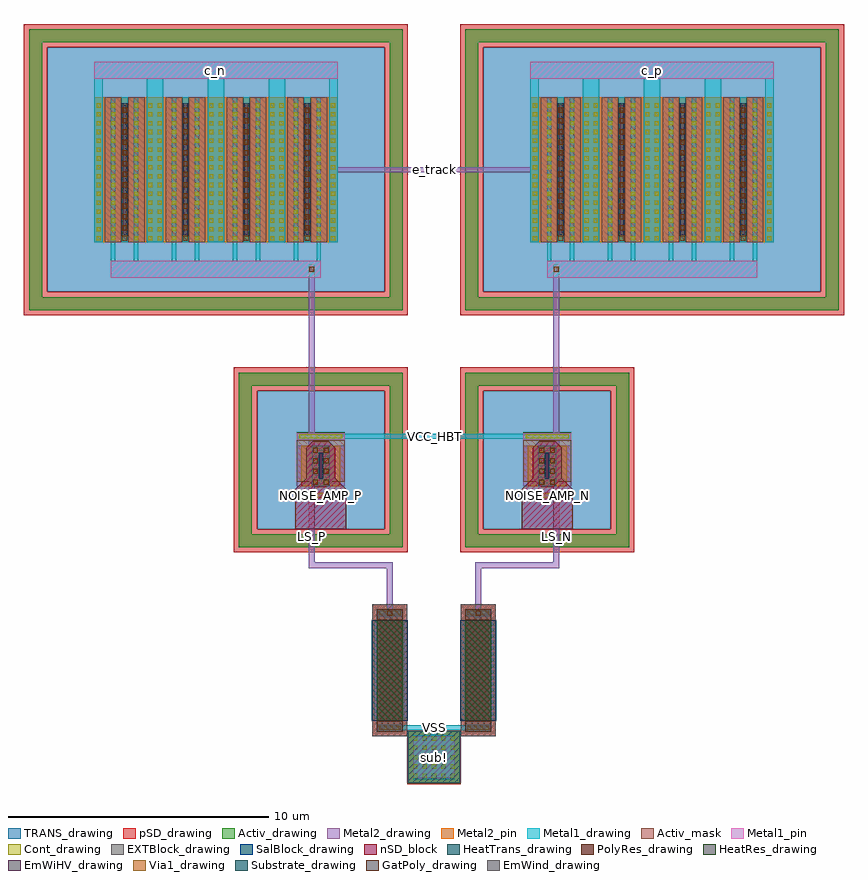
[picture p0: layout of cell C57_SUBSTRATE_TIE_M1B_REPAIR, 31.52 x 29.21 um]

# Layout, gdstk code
import gdstk
lib = gdstk.Library(unit=1e-6, precision=1e-09)
def R(c, l, rs):  # rectangles x0, y0, x1, y1
    for r in rs: c.add(gdstk.rectangle(r[:2], r[2:], *l))
def A(c, l, x, y, w, h, nx, ny, dx, dy):  # array of equal rectangles
    R(c, l, [(x+i*dx, y+j*dy, x+i*dx+w, y+j*dy+h) for i in range(nx) for j in range(ny)])
def P(c, l, *ps):  # polygons
    for p in ps: c.add(gdstk.Polygon(p, *l))
Activ_drawing = (1, 0)
Activ_mask = (1, 20)
GatPoly_drawing = (5, 0)
Cont_drawing = (6, 0)
nSD_block = (7, 21)
Metal1_drawing = (8, 0)
Metal1_pin = (8, 2)
Metal2_drawing = (10, 0)
Metal2_pin = (10, 2)
pSD_drawing = (14, 0)
Via1_drawing = (19, 0)
TRANS_drawing = (26, 0)
SalBlock_drawing = (28, 0)
EmWind_drawing = (33, 0)
Substrate_drawing = (40, 0)
HeatTrans_drawing = (51, 0)
HeatRes_drawing = (52, 0)
EXTBlock_drawing = (111, 0)
PolyRes_drawing = (128, 0)
EmWiHV_drawing = (156, 0)

npn13g2v = lib.new_cell('npn13G2V')
A(npn13g2v, Activ_drawing, 3.74, 2.82, 0.26, 5.56, 4, 1, 2.34, 0)
R(npn13g2v, Activ_drawing, [(2.7,2.82,3.105,8.38), (4.635,2.82,5.04,8.38), (5.04,2.82,5.445,8.38), (6.975,2.82,7.38,8.38), (7.38,2.82,7.785,8.38), (9.315,2.82,9.72,8.38), (9.72,2.82,10.125,8.38), (11.655,2.82,12.06,8.38)])
P(npn13g2v, Activ_drawing, [(0.2,0.2),(0.2,10.5),(0.7,10.5),(0.7,0.7),(14.06,0.7),(14.06,10.5),(0.2,10.5),(0.2,11),(14.56,11),(14.56,0.2)])
R(npn13g2v, Activ_mask, [(3.105,2.82,3.74,8.38), (4,2.82,4.635,8.38), (5.445,2.82,6.08,8.38), (6.34,2.82,6.975,8.38), (7.785,2.82,8.42,8.38), (8.68,2.82,9.315,8.38), (10.125,2.82,10.76,8.38), (11.02,2.82,11.655,8.38)])
A(npn13g2v, Cont_drawing, 2.8, 2.89, 0.16, 0.16, 1, 16, 0, 0.34)
A(npn13g2v, Cont_drawing, 3.35, 2.89, 0.16, 0.16, 1, 16, 0, 0.34)
A(npn13g2v, Cont_drawing, 4.23, 2.89, 0.16, 0.16, 1, 16, 0, 0.34)
A(npn13g2v, Cont_drawing, 4.78, 2.89, 0.16, 0.16, 1, 16, 0, 0.34)
A(npn13g2v, Cont_drawing, 5.14, 2.89, 0.16, 0.16, 1, 16, 0, 0.34)
A(npn13g2v, Cont_drawing, 5.69, 2.89, 0.16, 0.16, 1, 16, 0, 0.34)
A(npn13g2v, Cont_drawing, 6.57, 2.89, 0.16, 0.16, 1, 16, 0, 0.34)
A(npn13g2v, Cont_drawing, 7.12, 2.89, 0.16, 0.16, 1, 16, 0, 0.34)
A(npn13g2v, Cont_drawing, 7.48, 2.89, 0.16, 0.16, 1, 16, 0, 0.34)
A(npn13g2v, Cont_drawing, 8.03, 2.89, 0.16, 0.16, 1, 16, 0, 0.34)
A(npn13g2v, Cont_drawing, 8.91, 2.89, 0.16, 0.16, 1, 16, 0, 0.34)
A(npn13g2v, Cont_drawing, 9.46, 2.89, 0.16, 0.16, 1, 16, 0, 0.34)
A(npn13g2v, Cont_drawing, 9.82, 2.89, 0.16, 0.16, 1, 16, 0, 0.34)
A(npn13g2v, Cont_drawing, 10.37, 2.89, 0.16, 0.16, 1, 16, 0, 0.34)
A(npn13g2v, Cont_drawing, 11.25, 2.89, 0.16, 0.16, 1, 16, 0, 0.34)
A(npn13g2v, Cont_drawing, 11.8, 2.89, 0.16, 0.16, 1, 16, 0, 0.34)
A(npn13g2v, Cont_drawing, 3.79, 3.04, 0.16, 5.12, 4, 1, 2.34, 0)
A(npn13g2v, Metal1_drawing, 3.345, 1.45, 1.05, 0.65, 4, 1, 2.34, 0)
A(npn13g2v, Metal1_drawing, 4.395, 1.45, 1.29, 0.65, 3, 1, 2.34, 0)
A(npn13g2v, Metal1_drawing, 3.74, 2.82, 0.26, 5.56, 4, 1, 2.34, 0)
A(npn13g2v, Metal1_drawing, 2.7, 9.1, 2.34, 0.65, 4, 1, 2.34, 0)
R(npn13g2v, Metal1_drawing, [(3.345,2.1,3.515,8.38), (4.225,2.1,4.395,8.38), (5.685,2.1,5.855,8.38), (6.565,2.1,6.735,8.38), (8.025,2.1,8.195,8.38), (8.905,2.1,9.075,8.38), (10.365,2.1,10.535,8.38), (11.245,2.1,11.415,8.38), (2.7,2.82,3.02,9.1), (4.72,2.82,5.04,9.1), (5.04,2.82,5.36,9.1), (7.06,2.82,7.38,9.1), (7.38,2.82,7.7,9.1), (9.4,2.82,9.72,9.1), (9.72,2.82,10.04,9.1), (11.74,2.82,12.06,9.1)])
R(npn13g2v, Metal1_pin, [(3.345,1.45,11.415,2.1), (2.7,9.1,12.06,9.75)])
A(npn13g2v, Metal2_drawing, 2.7, 2.82, 2.34, 5.56, 4, 1, 2.34, 0)
R(npn13g2v, Metal2_pin, [(2.7,2.82,12.06,8.38)])
P(npn13g2v, pSD_drawing, [(0,0),(0,10.3),(0.9,10.3),(0.9,0.9),(13.86,0.9),(13.86,10.3),(0,10.3),(0,11.2),(14.76,11.2),(14.76,0)])
A(npn13g2v, Via1_drawing, 3.775, 2.87, 0.19, 0.19, 4, 13, 2.34, 0.41)
R(npn13g2v, TRANS_drawing, [(0.9,0.9,13.86,10.3)])
A(npn13g2v, HeatTrans_drawing, 3.76, 3.05, 0.22, 5.1, 4, 1, 2.34, 0)
A(npn13g2v, EmWiHV_drawing, 3.81, 3.1, 0.12, 5, 4, 1, 2.34, 0)
npn13g2v.add(gdstk.Label('Ae=4*5.00*0.12', (1.5,1), layer=63, texttype=0))
npn13g2v.add(gdstk.Label('npn13G2V', (1.75,1), layer=63, texttype=0))
npn13g2v.add(gdstk.Label('C', (7.38,9.425), layer=63, texttype=0))
npn13g2v.add(gdstk.Label('B', (7.38,1.775), layer=63, texttype=0))
npn13g2v.add(gdstk.Label('E', (7.38,5.6), layer=63, texttype=0))
npn13g2v.add(gdstk.Label('npn13G2V', (3.87,5.6), layer=51, texttype=0))

c47_input_pair = lib.new_cell('C47_INPUT_PAIR')
c47_input_pair.add(gdstk.Reference(npn13g2v, (-15.76,0)))
c47_input_pair.add(gdstk.Reference(npn13g2v, (1,0)))

npn13g2 = lib.new_cell('npn13G2')
R(npn13g2, Activ_drawing, [(-0.925,0.98,0.925,1.28)])
P(npn13g2, Activ_drawing, [(-3.15,-3.13),(-3.15,3.58),(2.65,3.58),(2.65,3.08),(-2.65,3.08),(-2.65,-2.63),(2.65,-2.63),(2.65,3.58),(3.15,3.58),(3.15,-3.13)])
P(npn13g2, Activ_mask, [(-0.235,-0.83),(-0.445,-0.62),(-0.925,-0.62),(-0.925,0.98),(0.925,0.98),(0.925,-0.62),(0.445,-0.62),(0.235,-0.83)])
R(npn13g2, Cont_drawing, [(-0.76,-1.22,0.76,-1.06), (-0.825,1.05,0.825,1.21)])
P(npn13g2, nSD_block, [(-0.975,-2.43),(-0.975,-0.9),(-0.555,-0.48),(-0.555,0.69),(-0.305,0.94),(0.305,0.94),(0.555,0.69),(0.555,-0.48),(0.975,-0.9),(0.975,-2.43)])
R(npn13g2, Metal1_drawing, [(-0.975,-1.26,0.975,-1.02), (-0.35,-0.785,0.35,0.77), (-0.925,1.01,0.925,1.25)])
R(npn13g2, Metal1_pin, [(-0.975,-1.26,0.975,-1.02), (-0.925,1.01,0.925,1.25)])
R(npn13g2, Metal2_drawing, [(-0.925,-0.785,0.925,0.77)])
R(npn13g2, Metal2_pin, [(-0.745,-0.785,0.745,0.77)])
P(npn13g2, pSD_drawing, [(-3.35,-3.33),(-3.35,3.78),(2.45,3.78),(2.45,2.88),(-2.45,2.88),(-2.45,-2.43),(2.45,-2.43),(2.45,3.78),(3.35,3.78),(3.35,-3.33)])
A(npn13g2, Via1_drawing, -0.3, -0.72, 0.19, 0.19, 1, 4, 0, 0.41)
A(npn13g2, Via1_drawing, 0.11, -0.72, 0.19, 0.19, 1, 4, 0, 0.41)
R(npn13g2, TRANS_drawing, [(-2.45,-2.43,2.45,2.88)])
R(npn13g2, EmWind_drawing, [(-0.035,-0.45,0.035,0.45)])
R(npn13g2, HeatTrans_drawing, [(-0.085,-0.5,0.085,0.5)])
npn13g2.add(gdstk.Label('npn13G2', (0.015,2.31), layer=63, texttype=0))
npn13g2.add(gdstk.Label('C', (0,1.13), layer=63, texttype=0))
npn13g2.add(gdstk.Label('B', (0,-1.14), layer=63, texttype=0))
npn13g2.add(gdstk.Label('E', (0,-0.007), layer=63, texttype=0))
npn13g2.add(gdstk.Label('Ae=1*1*0.07*0.90', (-1.977,-2.546), layer=63, texttype=0))
npn13g2.add(gdstk.Label('npn13G2', (0,0), layer=51, texttype=0))

c48_follower_pair = lib.new_cell('C48_FOLLOWER_PAIR')
c48_follower_pair.add(gdstk.Reference(npn13g2, (-4.35,-0.225)))
c48_follower_pair.add(gdstk.Reference(npn13g2, (4.35,-0.225)))

rppd = lib.new_cell('rppd')
R(rppd, GatPoly_drawing, [(0,-0.43,1,-0.2), (0,-0.2,1,0), (0,3.85,1,4.05), (0,4.05,1,4.28)])
R(rppd, Cont_drawing, [(0.07,-0.36,0.93,-0.2), (0.07,4.05,0.93,4.21)])
R(rppd, Metal1_drawing, [(0.02,-0.43,0.98,-0.13), (0.02,3.98,0.98,4.28)])
R(rppd, Metal1_pin, [(0.02,-0.43,0.98,-0.13), (0.02,3.98,0.98,4.28)])
R(rppd, pSD_drawing, [(-0.18,-0.61,1.18,0), (-0.18,0,1.18,3.85), (-0.18,3.85,1.18,4.46)])
R(rppd, SalBlock_drawing, [(-0.2,0,1.2,3.85)])
R(rppd, HeatRes_drawing, [(0,0,1,3.85)])
R(rppd, EXTBlock_drawing, [(-0.18,-0.61,1.18,0), (-0.2,0,1.2,3.85), (-0.18,3.85,1.18,4.46)])
R(rppd, PolyRes_drawing, [(0,0,1,3.85)])
rppd.add(gdstk.Label('rppd r=1065.030', (0.5,1.925), layer=63, texttype=0))
rppd.add(gdstk.Label('rppd', (0.5,1.925), layer=52, texttype=0))

c49_rls_pair = lib.new_cell('C49_RLS_PAIR')
c49_rls_pair.add(gdstk.Reference(rppd, (-2.2,-1.925)))
c49_rls_pair.add(gdstk.Reference(rppd, (1.2,-1.925)))

c51_interface_placement = lib.new_cell('C51_INTERFACE_PLACEMENT')
c51_interface_placement.add(gdstk.Reference(c47_input_pair, (0,0)))
c51_interface_placement.add(gdstk.Reference(c48_follower_pair, (0,-5.555)))
c51_interface_placement.add(gdstk.Reference(c49_rls_pair, (0,-13.645)))

c52_ls_connected = lib.new_cell('C52_LS_CONNECTED')
R(c52_ls_connected, Metal2_drawing, [(-1.82,-11.64,-1.58,-9.72), (1.58,-11.64,1.82,-9.72), (-4.82,-9.72,-4.58,1.94), (-4.82,-9.72,-1.58,-9.48), (1.58,-9.72,4.82,-9.48), (4.58,-9.72,4.82,1.94)])
R(c52_ls_connected, Via1_drawing, [(-1.795,-11.535,-1.605,-11.345), (1.605,-11.535,1.795,-11.345), (-4.795,1.68,-4.605,1.87), (4.605,1.68,4.795,1.87)])
c52_ls_connected.add(gdstk.Reference(c51_interface_placement, (0,0)))
c52_ls_connected.add(gdstk.Label('LS_N', (4.7,-8.5), layer=10, texttype=2))
c52_ls_connected.add(gdstk.Label('LS_P', (-4.7,-8.5), layer=10, texttype=2))

c54_boundary_access = lib.new_cell('C54_BOUNDARY_ACCESS')
R(c54_boundary_access, Metal1_drawing, [(-2.18,-15.95,2.18,-15.75), (-5.275,-4.75,5.275,-4.55)])
R(c54_boundary_access, Metal2_drawing, [(-13.06,5.5,13.06,5.7)])
c54_boundary_access.add(gdstk.Reference(c52_ls_connected, (0,0)))
c54_boundary_access.add(gdstk.Label('c_n', (-8.38,9.425), layer=8, texttype=2))
c54_boundary_access.add(gdstk.Label('c_p', (8.38,9.425), layer=8, texttype=2))
c54_boundary_access.add(gdstk.Label('VCC_HBT', (0,-4.65), layer=8, texttype=2))
c54_boundary_access.add(gdstk.Label('VSS', (0,-15.85), layer=8, texttype=2))
c54_boundary_access.add(gdstk.Label('NOISE_AMP_P', (-4.35,-6.92), layer=8, texttype=2))
c54_boundary_access.add(gdstk.Label('NOISE_AMP_N', (4.35,-6.92), layer=8, texttype=2))
c54_boundary_access.add(gdstk.Label('e_track', (0,5.6), layer=10, texttype=2))

ptap1 = lib.new_cell('ptap1')
R(ptap1, Activ_drawing, [(0,0,2,2)])
A(ptap1, Cont_drawing, 0.2, 0.2, 0.16, 0.16, 5, 5, 0.36, 0.36)
R(ptap1, Metal1_drawing, [(0.2,0.15,1.8,1.85), (0.2,0.2,1.8,1.8)])
R(ptap1, Metal1_pin, [(0.2,0.2,1.8,1.8)])
R(ptap1, pSD_drawing, [(-0.03,-0.03,2.03,2.03)])
R(ptap1, Substrate_drawing, [(0,0,2,2)])
ptap1.add(gdstk.Label('sub!', (1,0.01), layer=63, texttype=0))
ptap1.add(gdstk.Label('sub!', (1,0.01), layer=40, texttype=0))

c57_substrate_tie_m1b_re = lib.new_cell('C57_SUBSTRATE_TIE_M1B_REPAIR')
R(c57_substrate_tie_m1b_re, Metal1_drawing, [(-0.1,-16.23,0.1,-15.94)])
c57_substrate_tie_m1b_re.add(gdstk.Reference(c54_boundary_access, (0,0)))
c57_substrate_tie_m1b_re.add(gdstk.Reference(ptap1, (-1,-17.98)))
c57_substrate_tie_m1b_re.add(gdstk.Label('LS_P', (-4.7,-8.5), layer=10, texttype=25))
c57_substrate_tie_m1b_re.add(gdstk.Label('LS_N', (4.7,-8.5), layer=10, texttype=25))
c57_substrate_tie_m1b_re.add(gdstk.Label('e_track', (0,5.6), layer=10, texttype=25))
c57_substrate_tie_m1b_re.add(gdstk.Label('c_n', (-8.38,9.425), layer=8, texttype=25))
c57_substrate_tie_m1b_re.add(gdstk.Label('c_p', (8.38,9.425), layer=8, texttype=25))
c57_substrate_tie_m1b_re.add(gdstk.Label('VCC_HBT', (0,-4.65), layer=8, texttype=25))
c57_substrate_tie_m1b_re.add(gdstk.Label('VSS', (0,-15.85), layer=8, texttype=25))
c57_substrate_tie_m1b_re.add(gdstk.Label('NOISE_AMP_P', (-4.35,-6.92), layer=8, texttype=25))
c57_substrate_tie_m1b_re.add(gdstk.Label('NOISE_AMP_N', (4.35,-6.92), layer=8, texttype=25))
c57_substrate_tie_m1b_re.add(gdstk.Label('sub!', (0,-16.98), layer=40, texttype=25))

lib.write_gds('C57_SUBSTRATE_TIE_M1B_REPAIR.gds')
